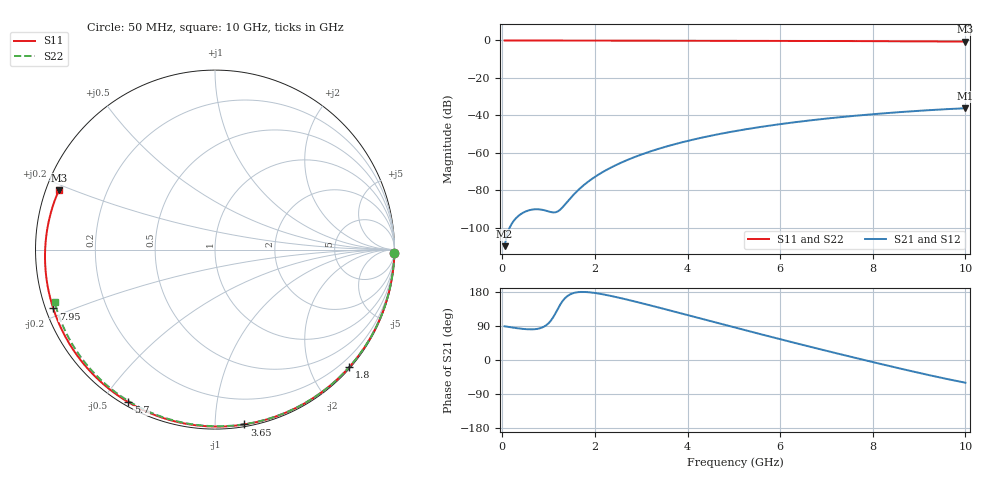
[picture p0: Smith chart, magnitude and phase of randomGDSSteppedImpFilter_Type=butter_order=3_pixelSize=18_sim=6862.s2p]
! freq	dB(S11)	phase(S11)	dB(S12)	phase(S12)
!  dB(S21)	phase(S21)	dB(S22)	phase(S22)
!S-par simulation data
#  GHz  S  DB  R 50
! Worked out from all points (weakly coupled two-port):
!   200 points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, 50 MHz to 10 GHz, reference 50 ohm
!   highest |S21| = -36.18 dB at 10 GHz (marker M1); lowest = -109.8 dB at 50 MHz (marker M2)
!   lowest |S11| = -0.6 dB at 10 GHz (marker M3), VSWR 27.85, Z = 1.86 + j9.18 ohm
!   |S11| at or under -10 dB: nowhere
!   |S22| runs from -0.5 to 0.0 dB; largest |S21 - S12| = 0
!   S11 on the Smith chart (normalised r, x): 50 MHz: 0, -97; 1.8 GHz: 0.02, -2.66; 3.65 GHz: 0.01, -1.18; 5.7 GHz: 0.02, -0.58; 7.95 GHz: 0.02, -0.18; 10 GHz: 0.04, +0.18
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0.05  -0.00 -1.2  -109.79 89.0  -109.79 89.0  -0.00 -1.0
0.4  -0.01 -9.3  -92.67 82.6  -92.67 82.6  -0.01 -7.6
0.8  -0.02 -18.6  -90.14 83.3  -90.14 83.3  -0.02 -15.1
1.6  -0.05 -36.8  -80.78 178.4  -80.78 178.4  -0.04 -29.9
1.65  -0.05 -37.9  -79.59 179.2  -79.59 179.2  -0.04 -30.9
1.75  -0.05 -40.2  -77.41 179.6  -77.41 179.6  -0.04 -32.7
1.8  -0.05 -41.3  -76.40 179.4  -76.40 179.4  -0.04 -33.6
2.1  -0.06 -47.9  -71.24 174.9  -71.24 174.9  -0.05 -39.0
2.5  -0.07 -56.5  -65.97 165.0  -65.97 165.0  -0.06 -46.2
2.9  -0.08 -65.0  -61.82 153.3  -61.82 153.3  -0.07 -53.2
3.4  -0.10 -75.4  -57.64 137.8  -57.64 137.8  -0.08 -61.9
3.65  -0.11 -80.4  -55.86 129.8  -55.86 129.8  -0.09 -66.1
4.35  -0.13 -94.3  -51.64 107.3  -51.64 107.3  -0.11 -77.7
5.05  -0.16 -107.6  -48.28 84.9  -48.28 84.9  -0.14 -88.9
5.7  -0.20 -119.6  -45.70 64.3  -45.70 64.3  -0.17 -99.0
6.7  -0.26 -137.6  -42.51 33.3  -42.51 33.3  -0.22 -114.1
7.35  -0.31 -149.2  -40.82 13.7  -40.82 13.7  -0.27 -123.6
7.95  -0.36 -160.0  -39.47 -4.0  -39.47 -4.0  -0.32 -132.3
8.35  -0.40 -167.4  -38.67 -15.7  -38.67 -15.7  -0.35 -138.0
9.2  -0.50 176.3  -37.23 -39.5  -37.23 -39.5  -0.44 -150.3
9.6  -0.56 168.0  -36.66 -50.0  -36.66 -50.0  -0.49 -156.1
10  -0.62 159.2  -36.18 -60.0  -36.18 -60.0  -0.53 -161.9
